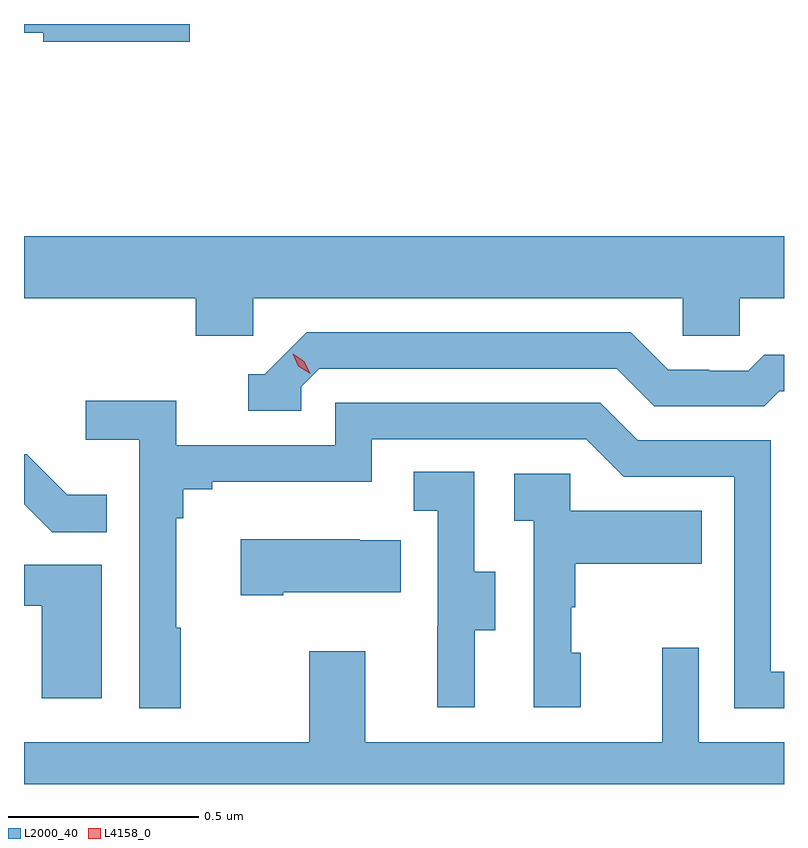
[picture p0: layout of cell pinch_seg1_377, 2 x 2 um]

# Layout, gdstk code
import gdstk
lib = gdstk.Library(unit=1e-6, precision=1e-09)
def P(c, l, *ps):  # polygons
    for p in ps: c.add(gdstk.Polygon(p, *l))
L2000_40 = (2000, 40)
L4158_0 = (4158, 0)

pinch_seg1_377 = lib.new_cell('pinch_seg1_377')
P(pinch_seg1_377, L2000_40, [(972.037,539.134),(971.601,539.134),(971.601,539.111),(971.652,539.111),(971.652,539.087),(972.037,539.087)],
  [(972.204,538.412),(973.335,538.412),(973.335,538.314),(973.485,538.314),(973.485,538.412),(973.601,538.412),(973.601,538.576),(971.601,538.576),(971.601,538.412),(972.053,538.412),(972.053,538.314),(972.204,538.314)],
  [(972.33,538.179),(972.378,538.227),(973.161,538.227),(973.26,538.128),(973.549,538.128),(973.588,538.167),(973.601,538.167),(973.601,538.264),(973.549,538.264),(973.507,538.221),(973.404,538.221),(973.404,538.224),(973.297,538.224),(973.198,538.323),(972.345,538.323),(972.234,538.212),(972.191,538.212),(972.191,538.116),(972.33,538.116)],
  [(972.013,537.545),(972.001,537.545),(972.001,537.833),(972.02,537.833),(972.02,537.91),(972.097,537.91),(972.097,537.929),(972.516,537.929),(972.516,538.041),(973.08,538.041),(973.179,537.942),(973.47,537.942),(973.47,537.333),(973.601,537.333),(973.601,537.429),(973.566,537.429),(973.566,538.038),(973.216,538.038),(973.117,538.137),(972.42,538.137),(972.42,538.026),(972.002,538.026),(972.002,538.142),(971.763,538.142),(971.763,538.04),(971.904,538.04),(971.904,537.333),(972.013,537.333)],
  [(971.819,537.895),(971.715,537.895),(971.608,538.002),(971.601,538.002),(971.601,537.87),(971.675,537.796),(971.819,537.796)],
  [(972.787,537.538),(972.841,537.538),(972.841,537.693),(972.786,537.693),(972.786,537.956),(972.627,537.956),(972.627,537.853),(972.69,537.853),(972.69,537.549),(972.689,537.549),(972.689,537.336),(972.787,537.336)],
  [(973.066,537.48),(973.041,537.48),(973.041,537.599),(973.051,537.599),(973.051,537.713),(973.385,537.713),(973.385,537.853),(973.038,537.853),(973.038,537.951),(972.891,537.951),(972.891,537.827),(972.942,537.827),(972.942,537.336),(973.066,537.336)],
  [(972.283,537.638),(972.593,537.638),(972.593,537.775),(972.485,537.775),(972.485,537.778),(972.171,537.778),(972.171,537.631),(972.283,537.631)],
  [(971.806,537.711),(971.601,537.711),(971.601,537.603),(971.648,537.603),(971.648,537.36),(971.806,537.36)],
  [(973.601,537.244),(973.377,537.244),(973.377,537.493),(973.28,537.493),(973.28,537.244),(972.499,537.244),(972.499,537.484),(972.352,537.484),(972.352,537.244),(971.601,537.244),(971.601,537.134),(973.601,537.134)])
P(pinch_seg1_377, L4158_0, [(972.354,538.213),(972.323,538.233),(972.308,538.266),(972.308,538.266),(972.308,538.266),(972.339,538.246),(972.354,538.213),(972.354,538.213)])

lib.write_gds('pinch_seg1_377.gds')
